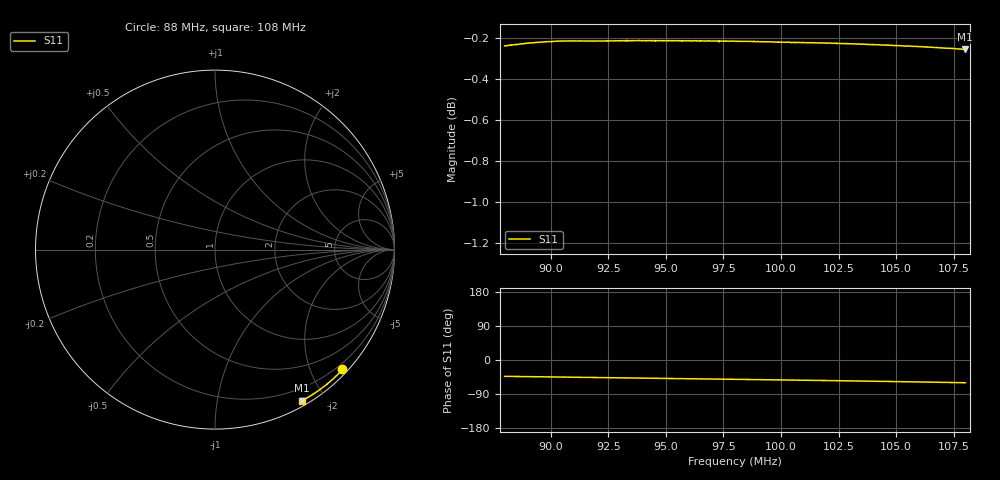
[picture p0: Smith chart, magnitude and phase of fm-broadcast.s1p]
! Calibrated averaged scanner-service zoom
# Hz S RI R 50
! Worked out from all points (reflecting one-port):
!   2001 points, 88 MHz to 108 MHz, reference 50 ohm
!   lowest |S11| = -0.3 dB at 108 MHz (marker M1), VSWR 67.40, Z = 2.96 - j86.5 ohm
!   phase of S11 starts at -43 deg and turns -17 deg over the sweep
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8.8e7  0.7099 -0.665
8.81e7  0.709 -0.6661
8.907e7  0.7014 -0.6761
8.977e7  0.6955 -0.6831
9.05e7  0.6891 -0.6903
9.128e7  0.6818 -0.6975
9.3e7  0.666 -0.7128
9.433e7  0.6533 -0.7245
9.55e7  0.6418 -0.7346
9.635e7  0.6332 -0.7419
9.688e7  0.6278 -0.7466
9.8e7  0.6159 -0.7562
9.891e7  0.6059 -0.7639
1.005e8  0.5877 -0.7774
1.0097e8  0.5823 -0.7814
1.0173e8  0.573 -0.788
1.0218e8  0.5675 -0.7919
1.03e8  0.5571 -0.7988
1.0361e8  0.5491 -0.804
1.042e8  0.5412 -0.809
1.0499e8  0.5303 -0.8156
1.055e8  0.5231 -0.8199
1.061e8  0.5144 -0.825
1.066e8  0.5069 -0.8292
1.0735e8  0.4953 -0.8355
1.079e8  0.4865 -0.8402
1.0799e8  0.4851 -0.8409
1.08e8  0.485 -0.841
